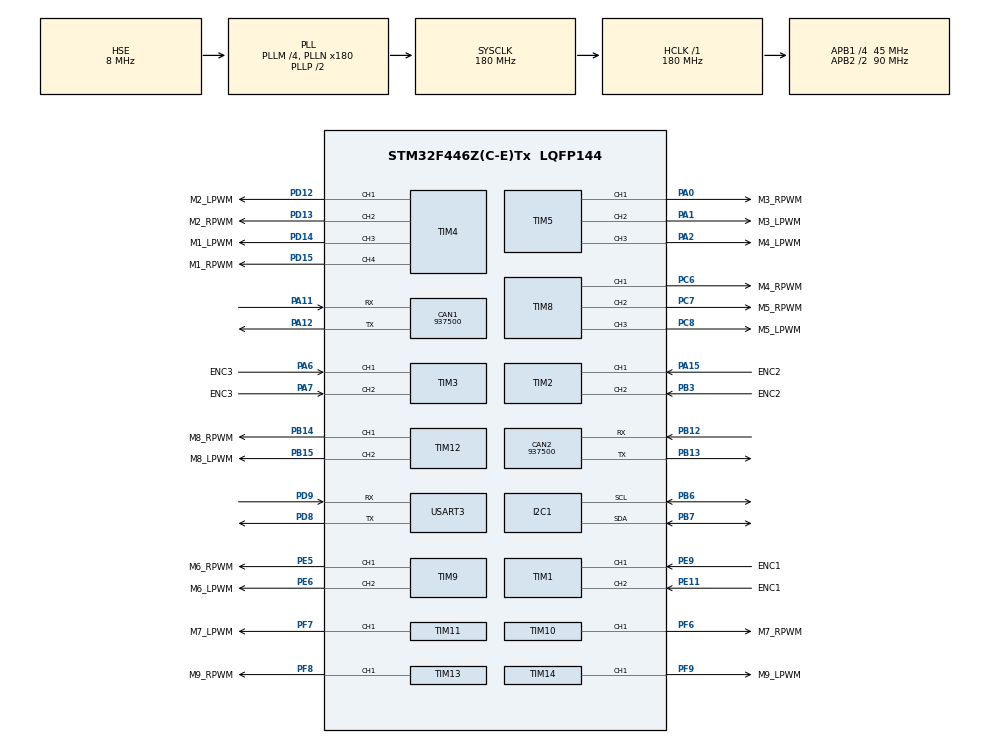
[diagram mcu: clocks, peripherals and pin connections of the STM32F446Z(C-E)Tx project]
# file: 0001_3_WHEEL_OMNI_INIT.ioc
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CAN1.CalculateBaudRate=937500
CAN1.CalculateTimeBit=1066
CAN1.CalculateTimeQuantum=355.55555555555554
CAN2.CalculateBaudRate=937500
CAN2.CalculateTimeBit=1066
CAN2.CalculateTimeQuantum=355.55555555555554
Mcu.Family=STM32F4
Mcu.Name=STM32F446Z(C-E)Tx
Mcu.Package=LQFP144
NVIC.PriorityGroup=NVIC_PRIORITYGROUP_4
PA0-WKUP.GPIO_Label=M3_RPWM
PA0-WKUP.Signal=S_TIM5_CH1
PA1.GPIO_Label=M3_LPWM
PA1.Signal=S_TIM5_CH2
PA11.Mode=CAN_Activate
PA11.Signal=CAN1_RX
PA12.Mode=CAN_Activate
PA12.Signal=CAN1_TX
PA15.GPIO_Label=ENC2
PA15.Signal=S_TIM2_CH1_ETR
PA2.GPIO_Label=M4_LPWM
PA2.Signal=S_TIM5_CH3
PA6.GPIO_Label=ENC3
PA6.Signal=S_TIM3_CH1
PA7.GPIO_Label=ENC3
PA7.Signal=S_TIM3_CH2
PB12.Mode=CAN_Activate
PB12.Signal=CAN2_RX
PB13.Mode=CAN_Activate
PB13.Signal=CAN2_TX
PB14.GPIO_Label=M8_RPWM
PB14.Signal=S_TIM12_CH1
PB15.GPIO_Label=M8_LPWM
PB15.Signal=S_TIM12_CH2
PB3.GPIO_Label=ENC2
PB3.Signal=S_TIM2_CH2
PB6.GPIO_Pu=GPIO_PULLUP
PB6.Mode=I2C
PB6.Signal=I2C1_SCL
PB7.GPIO_Pu=GPIO_PULLUP
PB7.Mode=I2C
PB7.Signal=I2C1_SDA
PC14-OSC32_IN.Mode=LSE-External-Oscillator
PC14-OSC32_IN.Signal=RCC_OSC32_IN
PC15-OSC32_OUT.Mode=LSE-External-Oscillator
PC15-OSC32_OUT.Signal=RCC_OSC32_OUT
PC6.GPIO_Label=M4_RPWM
PC6.Signal=S_TIM8_CH1
PC7.GPIO_Label=M5_RPWM
PC7.Signal=S_TIM8_CH2
PC8.GPIO_Label=M5_LPWM
PC8.Signal=S_TIM8_CH3
PD12.GPIO_Label=M2_LPWM
PD12.Signal=S_TIM4_CH1
PD13.GPIO_Label=M2_RPWM
PD13.Signal=S_TIM4_CH2
PD14.GPIO_Label=M1_LPWM
PD14.Signal=S_TIM4_CH3
PD15.GPIO_Label=M1_RPWM
PD15.Signal=S_TIM4_CH4
PD8.Mode=Asynchronous
PD8.Signal=USART3_TX
PD9.Mode=Asynchronous
PD9.Signal=USART3_RX
PE11.GPIO_Label=ENC1
PE11.Signal=S_TIM1_CH2
PE5.GPIO_Label=M6_RPWM
PE5.Signal=S_TIM9_CH1
PE6.GPIO_Label=M6_LPWM
PE6.Signal=S_TIM9_CH2
PE9.GPIO_Label=ENC1
PE9.Signal=S_TIM1_CH1
PF6.GPIO_Label=M7_RPWM
PF6.Signal=S_TIM10_CH1
PF7.GPIO_Label=M7_LPWM
PF7.Signal=S_TIM11_CH1
PF8.GPIO_Label=M9_RPWM
PF8.Signal=S_TIM13_CH1
PF9.GPIO_Label=M9_LPWM
PF9.Signal=S_TIM14_CH1
PH0-OSC_IN.Mode=HSE-External-Oscillator
PH0-OSC_IN.Signal=RCC_OSC_IN
PH1-OSC_OUT.Mode=HSE-External-Oscillator
PH1-OSC_OUT.Signal=RCC_OSC_OUT
ProjectManager.HeapSize=0x200
ProjectManager.StackSize=0x400
ProjectManager.TargetToolchain=STM32CubeIDE
RCC.48MHZClocksFreq_Value=24000000
RCC.AHBFreq_Value=180000000
RCC.APB1CLKDivider=RCC_HCLK_DIV4
RCC.APB1Freq_Value=45000000
RCC.APB1TimFreq_Value=90000000
RCC.APB2CLKDivider=RCC_HCLK_DIV2
RCC.APB2Freq_Value=90000000
RCC.APB2TimFreq_Value=180000000
RCC.CortexFreq_Value=180000000
RCC.HCLKFreq_Value=180000000
RCC.HSE_VALUE=8000000
RCC.HSI_VALUE=16000000
RCC.PLLM=4
RCC.PLLMUL=RCC_PLL_MUL9
RCC.PLLN=180
RCC.PLLQ=7
RCC.PLLSourceVirtual=RCC_PLLSOURCE_HSE
RCC.PRESCALERUSB=RCC_USBCLKSOURCE_PLL_DIV1_5
RCC.SYSCLKFreq_VALUE=180000000
RCC.SYSCLKSource=RCC_SYSCLKSOURCE_PLLCLK
RCC.SYSCLKSourceVirtual=RCC_SYSCLKSOURCE_PLLCLK
RCC.USBFreq_Value=51428571.428571425
RCC.VCOOutputFreq_Value=360000000
SH.S_TIM10_CH1.0=TIM10_CH1,PWM Generation1 CH1
SH.S_TIM11_CH1.0=TIM11_CH1,PWM Generation1 CH1
SH.S_TIM12_CH1.0=TIM12_CH1,PWM Generation1 CH1
SH.S_TIM12_CH2.0=TIM12_CH2,PWM Generation2 CH2
SH.S_TIM13_CH1.0=TIM13_CH1,PWM Generation1 CH1
SH.S_TIM14_CH1.0=TIM14_CH1,PWM Generation1 CH1
SH.S_TIM1_CH1.0=TIM1_CH1,Encoder_Interface
SH.S_TIM1_CH2.0=TIM1_CH2,Encoder_Interface
SH.S_TIM2_CH1_ETR.0=TIM2_CH1,Encoder_Interface
SH.S_TIM2_CH2.0=TIM2_CH2,Encoder_Interface
SH.S_TIM3_CH1.0=TIM3_CH1,Encoder_Interface
SH.S_TIM3_CH2.0=TIM3_CH2,Encoder_Interface
SH.S_TIM4_CH1.0=TIM4_CH1,PWM Generation1 CH1
SH.S_TIM4_CH2.0=TIM4_CH2,PWM Generation2 CH2
SH.S_TIM4_CH3.0=TIM4_CH3,PWM Generation3 CH3
SH.S_TIM4_CH4.0=TIM4_CH4,PWM Generation4 CH4
SH.S_TIM5_CH1.0=TIM5_CH1,PWM Generation1 CH1
SH.S_TIM5_CH2.0=TIM5_CH2,PWM Generation2 CH2
SH.S_TIM5_CH3.0=TIM5_CH3,PWM Generation3 CH3
SH.S_TIM8_CH1.0=TIM8_CH1,PWM Generation1 CH1
SH.S_TIM8_CH2.0=TIM8_CH2,PWM Generation2 CH2
SH.S_TIM8_CH3.0=TIM8_CH3,PWM Generation3 CH3
SH.S_TIM9_CH1.0=TIM9_CH1,PWM Generation1 CH1
SH.S_TIM9_CH2.0=TIM9_CH2,PWM Generation2 CH2
TIM10.Channel=TIM_CHANNEL_1
TIM11.Channel=TIM_CHANNEL_1
TIM12.Channel-PWM\ Generation1\ CH1=TIM_CHANNEL_1
TIM12.Channel-PWM\ Generation2\ CH2=TIM_CHANNEL_2
TIM13.Channel=TIM_CHANNEL_1
TIM14.Channel=TIM_CHANNEL_1
TIM4.Channel-PWM\ Generation1\ CH1=TIM_CHANNEL_1
TIM4.Channel-PWM\ Generation2\ CH2=TIM_CHANNEL_2
TIM4.Channel-PWM\ Generation3\ CH3=TIM_CHANNEL_3
TIM4.Channel-PWM\ Generation4\ CH4=TIM_CHANNEL_4
TIM5.Channel-PWM\ Generation1\ CH1=TIM_CHANNEL_1
TIM5.Channel-PWM\ Generation2\ CH2=TIM_CHANNEL_2
TIM5.Channel-PWM\ Generation3\ CH3=TIM_CHANNEL_3
TIM8.Channel-PWM\ Generation1\ CH1=TIM_CHANNEL_1
TIM8.Channel-PWM\ Generation2\ CH2=TIM_CHANNEL_2
TIM8.Channel-PWM\ Generation3\ CH3=TIM_CHANNEL_3
TIM9.Channel-PWM\ Generation1\ CH1=TIM_CHANNEL_1
TIM9.Channel-PWM\ Generation2\ CH2=TIM_CHANNEL_2
USART3.VirtualMode=VM_ASYNC
VP_TIM10_VS_ClockSourceINT.Mode=Enable_Timer
VP_TIM11_VS_ClockSourceINT.Mode=Enable_Timer
VP_TIM13_VS_ClockSourceINT.Mode=Enable_Timer
VP_TIM14_VS_ClockSourceINT.Mode=Enable_Timer
VP_TIM8_VS_ClockSourceINT.Mode=Internal
board=NUCLEO-F446ZE

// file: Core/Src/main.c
/* USER CODE BEGIN Header */
/**
  ******************************************************************************
  * @file           : main.c
  * @brief          : Main program body
  ******************************************************************************
  * @attention
  *
  * Copyright (c) 2026 STMicroelectronics.
  * All rights reserved.
  *
  * This software is licensed under terms that can be found in the LICENSE file
  * in the root directory of this software component.
  * If no LICENSE file comes with this software, it is provided AS-IS.
  *
  ******************************************************************************
  */
/* USER CODE END Header */
#include "main.h"

/* USER CODE BEGIN PD */

// ===================== BNO055 CONFIG =====================
#define BNO055_ADDR        (0x28 << 1)
#define BNO055_REG_OPR     0x3D
#define BNO055_REG_PWR     0x3E
#define BNO055_REG_EUL     0x1A

#define BNO055_MODE_CONFIG 0x00
#define BNO055_MODE_NDOF   0x0C
#define BNO055_PWR_NORMAL  0x00

// ===================== IMU_TICK STATE =====================
static uint8_t IMU_TICK_BUFFER[6];
volatile bool IMU_TICK = false;
float IMU_TICK_HEADING = 0.0f;
bool imuInitialized = false;

// ===================== COMMUNICATION AND CONTROL =====================
#define arraySize 5
#define slaveAddr 8
uint8_t data[arraySize];
char dataBuffer[100];
char msg[64];

uint8_t L2;
uint8_t R2;
bool L1;
bool R1;

bool right;
bool down;
bool up;
bool left;
bool square;
bool cross;
bool circle;
bool triangle;

// ===================== MOTOR CONTROL =====================
#define FW_LPWM 1
#define FW_RPWM 2

#define LW_LPWM 1
#define LW_RPWM 2

#define RW_LPWM 3
#define RW_RPWM 4

typedef struct{
    TIM_TypeDef *TIMx;
    uint32_t channelLPWM;
    uint32_t channelRPWM;
    int16_t maxPWM;
} Motor_t;

Motor_t motorFW;
Motor_t motorLW;
Motor_t motorRW;

// ===================== CAN RX =====================
#define CONTROLLER_CAN_ID   0x123
#define CAN_RX_DLC          8

static CAN_FilterTypeDef canFilter;
static CAN_RxHeaderTypeDef  canRxHeader;

static uint8_t canRxData[CAN_RX_DLC];
volatile bool canDataReady = false;
int LX = 0, LY = 0, RX = 0, RY = 0;

// ===================== CONSTANTS =====================
#define wheelRadius       0.075
#define length       	  1
#define MAX_PWM           60
#define DEADZONE     	  35
#define dt           	  0.001

// ===================== KINEMATICS CONSTANTS =====================
#define PI 				  3.14159265358979323846
#define oneBy2F 		  0.5
#define sqrtThreeby2F	  0.8660254037844386

typedef struct{
    // PS4 Input
    float Vx;
    float Vy;
    float Omega;

    // Global Control
    float VxG;
    float VyG;

    // Heading Control
    float currentAngle;
    float targetAngle;
    float correctionAngle;

    // Output
    int16_t wFW;
    int16_t wLW;
    int16_t wRW;

} RobotControl_t;
RobotControl_t Robot;

// ===================== PID CONTROL VARS=====================
typedef struct{
    float kp;
    float ki;
    float kd;

    float previousError;
    float integral;

    uint32_t previousTime;

} PID_t;
PID_t OmegaPID = {
    .kp = 2.5f,
    .ki = 0.0f,
    .kd = 0.5f,
    .previousError = 0.0f,
    .integral = 0.0f,
    .previousTime = 0
};

/* USER CODE END PD */

CAN_HandleTypeDef hcan1;
CAN_HandleTypeDef hcan2;

I2C_HandleTypeDef hi2c1;

TIM_HandleTypeDef htim1;
TIM_HandleTypeDef htim2;
TIM_HandleTypeDef htim3;
TIM_HandleTypeDef htim4;
TIM_HandleTypeDef htim5;
TIM_HandleTypeDef htim8;
TIM_HandleTypeDef htim9;
TIM_HandleTypeDef htim10;
TIM_HandleTypeDef htim11;
TIM_HandleTypeDef htim12;
TIM_HandleTypeDef htim13;
TIM_HandleTypeDef htim14;

UART_HandleTypeDef huart3;

void SystemClock_Config(void);
static void MX_GPIO_Init(void);
static void MX_CAN1_Init(void);
static void MX_CAN2_Init(void);
static void MX_I2C1_Init(void);
static void MX_TIM1_Init(void);
static void MX_TIM2_Init(void);
static void MX_TIM3_Init(void);
static void MX_TIM4_Init(void);
static void MX_TIM5_Init(void);
static void MX_TIM8_Init(void);
static void MX_TIM9_Init(void);
static void MX_TIM10_Init(void);
static void MX_TIM11_Init(void);
static void MX_TIM12_Init(void);
static void MX_TIM13_Init(void);
static void MX_TIM14_Init(void);
static void MX_USART3_UART_Init(void);

/* USER CODE BEGIN 0 */
// ===================== FUNCTIONS DECLARATIONS=====================
float degree2radian(float angle);
float radian2degree(float angle);
float constrain(float num, float min, float max);
long map(long x, long in_min, long in_max, long out_min, long out_max);

void BNO055_Init(void);
static float NormalizeAngle(float angle);
void IMUTicKUpdate(void);
void reMapData();

void MotorSet(Motor_t *motor, int16_t speed);
void MotorInit(Motor_t *motor,	TIM_TypeDef *TIMx, uint32_t channelLeft, uint32_t channelRight,	int16_t maxPWM);
void KinematicsControl(RobotControl_t *robot);
void KinematicsDrive(RobotControl_t *robot);

void RobotUpdateAngle(RobotControl_t *robot);
float PIDCompute(PID_t *pid, float error);
void PIDReset(PID_t *pid);

// ===================== FUNCTIONS DEFINITIONS=====================
float degree2radian(float angle) {
	return angle * (PI / 180.0f);
}

float radian2degree(float angle) {
	return angle * (180.0f / PI);
}

long map(long x, long in_min, long in_max, long out_min, long out_max) {
	return (x - in_min) * (out_max - out_min) / (in_max - in_min) + out_min;
}

float constrain(float num, float min, float max) {

	if (num > max) {
		return max;
	}

	else if (num < min) {
		return min;
	}

	else {
		return num;
	}
}

void BNO055_Init(void){
    uint8_t mode;

    // Go to CONFIG mode
    mode = BNO055_MODE_CONFIG;
    HAL_I2C_Mem_Write(&hi2c1, BNO055_ADDR,	BNO055_REG_OPR, I2C_MEMADD_SIZE_8BIT, &mode, sizeof(mode), HAL_MAX_DELAY);

    HAL_Delay(20);

    // Set power mode
    mode = BNO055_PWR_NORMAL;
    HAL_I2C_Mem_Write(&hi2c1, BNO055_ADDR,	BNO055_REG_PWR, I2C_MEMADD_SIZE_8BIT, &mode, sizeof(mode), HAL_MAX_DELAY);

    HAL_Delay(10);

    // Switch to NDOF mode
    mode = BNO055_MODE_NDOF;
    HAL_I2C_Mem_Write(&hi2c1, BNO055_ADDR,	BNO055_REG_OPR, I2C_MEMADD_SIZE_8BIT, &mode, sizeof(mode), HAL_MAX_DELAY);

    HAL_Delay(20);
}

static float NormalizeAngle(float angle){
    if (angle > 180.0f)  angle -= 360.0f;
    if (angle < -180.0f) angle += 360.0f;
    return angle;
}

void IMUTicKUpdate(void){
	HAL_StatusTypeDef BNO_Status = HAL_I2C_Mem_Read(&hi2c1, BNO055_ADDR, BNO055_REG_EUL, I2C_MEMADD_SIZE_8BIT,	IMU_TICK_BUFFER, sizeof(IMU_TICK_BUFFER), HAL_MAX_DELAY);
    if ( BNO_Status == HAL_OK){
        int16_t raw_heading = (int16_t)((IMU_TICK_BUFFER[1] << 8) | IMU_TICK_BUFFER[0]);
        IMU_TICK_HEADING = -NormalizeAngle(raw_heading / 16.0f);
    }
}

void reMapData(void) {

    LX = map(canRxData[0], 0, 255, 127, -127);
    LY = map(canRxData[1], 0, 255, 127, -127);

    right     = ((canRxData[2] & (1 << 0)) ? 1 : 0);
    down      = ((canRxData[2] & (1 << 1)) ? 1 : 0);
    up        = ((canRxData[2] & (1 << 2)) ? 1 : 0);
    left      = ((canRxData[2] & (1 << 3)) ? 1 : 0);
    square    = ((canRxData[2] & (1 << 4)) ? 1 : 0);
    cross     = ((canRxData[2] & (1 << 5)) ? 1 : 0);
    circle    = ((canRxData[2] & (1 << 6)) ? 1 : 0);
    triangle  = ((canRxData[2] & (1 << 7)) ? 1 : 0);

    L2 = canRxData[3];
    R2 = canRxData[4];

    Robot.Omega = map(R2 - L2, -255, 255, -50, 50);

    if (abs(LX) < DEADZONE) LX = 0;
    if (abs(LY) < DEADZONE) LY = 0;
    if (abs(Robot.Omega) < DEADZONE) Robot.Omega = 0;
}

// ===================== CUSTOM FUNCTIONS =====================

// ===================== MOTOR CONTROL =====================
void MotorInit(Motor_t *motor,	TIM_TypeDef *TIMx, uint32_t channelLeft, uint32_t channelRight,	int16_t maxPWM){
    motor->TIMx = TIMx;
    motor->channelLPWM = channelLeft;
    motor->channelRPWM = channelRight;
    motor->maxPWM = maxPWM;
}

void MotorSet(Motor_t *motor, int16_t speed){
    if (speed > motor->maxPWM)						speed = motor->maxPWM;
    else if (speed < -motor->maxPWM)				speed = -motor->maxPWM;

    volatile uint32_t *ccrLPWM = &motor->TIMx->CCR1 + (motor->channelLPWM - 1);
    volatile uint32_t *ccrRPWM = &motor->TIMx->CCR1 + (motor->channelRPWM - 1);

    if (speed >= 0){
        *ccrRPWM = speed;
        *ccrLPWM = 0;
    } else{
        *ccrRPWM = 0;
        *ccrLPWM = -speed;
    }
}

void KinematicsControl(RobotControl_t *robot){

	double theta = degree2radian(robot->currentAngle);
	robot->VxG = ( robot->Vx) * cosf(theta) + (robot->Vy) * sinf(theta);
	robot->VyG = (-robot->Vx) * sinf(theta) + (robot->Vy) * cosf(theta);

	robot->wLW = (int16_t)((-robot->VxG * oneBy2F) - (robot->VyG * sqrtThreeby2F) + (robot->Omega));				//LEFT
	robot->wRW = (int16_t)((-robot->VxG * oneBy2F) + (robot->VyG * sqrtThreeby2F) + (robot->Omega));				//RIGHT
	robot->wFW = (int16_t)(( robot->VxG ) + (robot->Omega));														//FRONT

	robot->wLW = constrain(robot->wLW, -MAX_PWM, MAX_PWM);
	robot->wRW = constrain(robot->wRW, -MAX_PWM, MAX_PWM);
	robot->wFW = constrain(robot->wFW, -MAX_PWM, MAX_PWM);

}

void KinematicsDrive(RobotControl_t *robot){
	MotorSet(&motorLW, robot->wLW);
	MotorSet(&motorRW, robot->wRW);
    MotorSet(&motorFW, robot->wFW);
}

// ===================== PID CONTROL =====================
void RobotUpdateAngle(RobotControl_t *robot){
    robot->currentAngle = IMU_TICK_HEADING;
}

float PIDCompute(PID_t *pid, float error){
    uint32_t currentTime = HAL_GetTick();
    float deltaT = (currentTime - pid->previousTime) / 1000.0f;

    if (deltaT <= 0.0f)		deltaT = 0.001f;

    pid->integral += error * deltaT;
    pid->integral = constrain(pid->integral, -50.0f, 50.0f);

    float proportional = error;
    float derivative = (error - pid->previousError) / deltaT;
    float integral = pid->integral;

    float PID = (pid->kp * proportional ) + (pid->kd * derivative) + (pid->ki * integral);
    PID = constrain(PID, -MAX_PWM, MAX_PWM);

    pid->previousError  = error;
    pid->previousTime   = currentTime;

    return PID;
}

void PIDReset(PID_t *pid){
    pid->integral = 0.0f;
    pid->previousError = 0.0f;
    pid->previousTime = HAL_GetTick();
}

// =====================  FUNCTIONS =====================

/* USER CODE END 0 */

int main(void)
{

  /* MCU Configuration--------------------------------------------------------*/

  /* Reset of all peripherals, Initializes the Flash interface and the Systick. */
  HAL_Init();

  /* Configure the system clock */
  SystemClock_Config();

  /* Initialize all configured peripherals */
  MX_GPIO_Init();
  MX_CAN1_Init();
  MX_CAN2_Init();
  MX_I2C1_Init();
  MX_TIM1_Init();
  MX_TIM2_Init();
  MX_TIM3_Init();
  MX_TIM4_Init();
  MX_TIM5_Init();
  MX_TIM8_Init();
  MX_TIM9_Init();
  MX_TIM10_Init();
  MX_TIM11_Init();
  MX_TIM12_Init();
  MX_TIM13_Init();
  MX_TIM14_Init();
  MX_USART3_UART_Init();
  /* USER CODE BEGIN 2 */

  HAL_TIM_PWM_Start(&htim4,  TIM_CHANNEL_1);
  HAL_TIM_PWM_Start(&htim4,  TIM_CHANNEL_2);
  HAL_TIM_PWM_Start(&htim4,  TIM_CHANNEL_3);
  HAL_TIM_PWM_Start(&htim4,  TIM_CHANNEL_4);
  HAL_TIM_PWM_Start(&htim5,  TIM_CHANNEL_1);
  HAL_TIM_PWM_Start(&htim5,  TIM_CHANNEL_2);
//  HAL_TIM_PWM_Start(&htim5,  TIM_CHANNEL_3);
//  HAL_TIM_PWM_Start(&htim8,  TIM_CHANNEL_1);
//  HAL_TIM_PWM_Start(&htim8,  TIM_CHANNEL_2);
//  HAL_TIM_PWM_Start(&htim8,  TIM_CHANNEL_3);
//  HAL_TIM_PWM_Start(&htim10, TIM_CHANNEL_1);
//  HAL_TIM_PWM_Start(&htim11, TIM_CHANNEL_1);
//  HAL_TIM_PWM_Start(&htim12, TIM_CHANNEL_1);
//  HAL_TIM_PWM_Start(&htim12, TIM_CHANNEL_2);
//  HAL_TIM_PWM_Start(&htim13, TIM_CHANNEL_1);
//  HAL_TIM_PWM_Start(&htim14, TIM_CHANNEL_1);

  BNO055_Init();

  // ===================== CAN CONFIGURATIONS =====================
  	canFilter.FilterBank = 0;
  	canFilter.FilterMode = CAN_FILTERMODE_IDMASK;
  	canFilter.FilterScale = CAN_FILTERSCALE_32BIT;
  	canFilter.FilterIdHigh = 0x0000;      //0x123 << 5 to accept only id 123
  	canFilter.FilterIdLow = 0x0000;
  	canFilter.FilterMaskIdHigh = 0x0000; // 0x7FF << 5 to accept only id 123
  	canFilter.FilterMaskIdLow = 0x0000;
  	canFilter.FilterFIFOAssignment = CAN_RX_FIFO0;
  	canFilter.FilterActivation = ENABLE;

  	HAL_CAN_ConfigFilter(&hcan1, &canFilter);

  	// THEN start CAN
  	HAL_CAN_Start(&hcan1);

  	// THEN activate interrupt
  	HAL_CAN_ActivateNotification(&hcan1, CAN_IT_RX_FIFO0_MSG_PENDING);

  	// ===================== MOTOR CONFIGURATIONS =====================
  	MotorInit(&motorFW, TIM4, FW_LPWM, FW_RPWM, MAX_PWM);
  	MotorInit(&motorLW, TIM4, LW_LPWM, LW_RPWM, MAX_PWM);
  	MotorInit(&motorRW, TIM5, RW_LPWM, RW_RPWM, MAX_PWM);

  	// ===================== PID CONFIGURATIONS =====================
  	OmegaPID.previousTime = HAL_GetTick();
  	Robot.targetAngle = NormalizeAngle(IMU_TICK_HEADING);

  /* USER CODE END 2 */

  /* Infinite loop */
  		while (1) {

  	    /* USER CODE BEGIN 3 */

  	//      sprintf(msg, "%d    %d   %d    %d    %d\r\n", canRxData[0], canRxData[1], canRxData[2], canRxData[3], canRxData[4]);
  	//      CDC_Transmit_FS(msg, sizeof(msg));

  			if (canDataReady) {
  			    reMapData();
  			    canDataReady = false;
  			}

  			if (IMU_TICK) {
  			    IMUTicKUpdate();
  			    Robot.currentAngle = IMU_TICK_HEADING;

  			    if (!imuInitialized) {
  			        Robot.targetAngle = Robot.currentAngle;
  			        OmegaPID.previousTime = HAL_GetTick();
  			        imuInitialized = true;
  			    }
  			    IMU_TICK = false;
  			}

  			// CONTROL
  			Robot.Vx = LX;
  			Robot.Vy = LY;

  			if (fabsf(Robot.Omega) < 5.0f) {
  			    float error = NormalizeAngle(Robot.currentAngle - Robot.targetAngle);

  			    if (fabsf(error) < 2.0f) {
  			        Robot.Omega = 0;
  			    } else {
  			        Robot.Omega = -PIDCompute(&OmegaPID, error);
  			    }
  			} else {
  			    Robot.targetAngle = Robot.currentAngle;
  			    PIDReset(&OmegaPID);
  			}

  			KinematicsControl(&Robot);
  			KinematicsDrive(&Robot);

  			int len = sprintf(msg, "Angle: %.2f\r\n", Robot.currentAngle);
  			CDC_Transmit_FS((uint8_t*)msg, len);

  			//HAL_Delay(5);
  		}
  	  /* USER CODE END 3 */
  	}

void SystemClock_Config(void)
{
  RCC_OscInitTypeDef RCC_OscInitStruct = {0};
  RCC_ClkInitTypeDef RCC_ClkInitStruct = {0};

  /** Configure the main internal regulator output voltage
  */
  __HAL_RCC_PWR_CLK_ENABLE();
  __HAL_PWR_VOLTAGESCALING_CONFIG(PWR_REGULATOR_VOLTAGE_SCALE1);

  /** Initializes the RCC Oscillators according to the specified parameters
  * in the RCC_OscInitTypeDef structure.
  */
  RCC_OscInitStruct.OscillatorType = RCC_OSCILLATORTYPE_HSE;
  RCC_OscInitStruct.HSEState = RCC_HSE_ON;
  RCC_OscInitStruct.PLL.PLLState = RCC_PLL_ON;
  RCC_OscInitStruct.PLL.PLLSource = RCC_PLLSOURCE_HSE;
  RCC_OscInitStruct.PLL.PLLM = 4;
  RCC_OscInitStruct.PLL.PLLN = 180;
  RCC_OscInitStruct.PLL.PLLP = RCC_PLLP_DIV2;
  RCC_OscInitStruct.PLL.PLLQ = 7;
  RCC_OscInitStruct.PLL.PLLR = 2;
  if (HAL_RCC_OscConfig(&RCC_OscInitStruct) != HAL_OK)
  {
    Error_Handler();
  }

  /** Activate the Over-Drive mode
  */
  if (HAL_PWREx_EnableOverDrive() != HAL_OK)
  {
    Error_Handler();
  }

  /** Initializes the CPU, AHB and APB buses clocks
  */
  RCC_ClkInitStruct.ClockType = RCC_CLOCKTYPE_HCLK|RCC_CLOCKTYPE_SYSCLK
                              |RCC_CLOCKTYPE_PCLK1|RCC_CLOCKTYPE_PCLK2;
  RCC_ClkInitStruct.SYSCLKSource = RCC_SYSCLKSOURCE_PLLCLK;
  RCC_ClkInitStruct.AHBCLKDivider = RCC_SYSCLK_DIV1;
  RCC_ClkInitStruct.APB1CLKDivider = RCC_HCLK_DIV4;
  RCC_ClkInitStruct.APB2CLKDivider = RCC_HCLK_DIV2;

  if (HAL_RCC_ClockConfig(&RCC_ClkInitStruct, FLASH_LATENCY_5) != HAL_OK)
  {
    Error_Handler();
  }
}

static void MX_CAN1_Init(void)
{

  hcan1.Instance = CAN1;
  hcan1.Init.Prescaler = 16;
  hcan1.Init.Mode = CAN_MODE_NORMAL;
  hcan1.Init.SyncJumpWidth = CAN_SJW_1TQ;
  hcan1.Init.TimeSeg1 = CAN_BS1_1TQ;
  hcan1.Init.TimeSeg2 = CAN_BS2_1TQ;
  hcan1.Init.TimeTriggeredMode = DISABLE;
  hcan1.Init.AutoBusOff = DISABLE;
  hcan1.Init.AutoWakeUp = DISABLE;
  hcan1.Init.AutoRetransmission = DISABLE;
  hcan1.Init.ReceiveFifoLocked = DISABLE;
  hcan1.Init.TransmitFifoPriority = DISABLE;
  if (HAL_CAN_Init(&hcan1) != HAL_OK)
  {
    Error_Handler();
  }

}

static void MX_CAN2_Init(void)
{

  hcan2.Instance = CAN2;
  hcan2.Init.Prescaler = 16;
  hcan2.Init.Mode = CAN_MODE_NORMAL;
  hcan2.Init.SyncJumpWidth = CAN_SJW_1TQ;
  hcan2.Init.TimeSeg1 = CAN_BS1_1TQ;
  hcan2.Init.TimeSeg2 = CAN_BS2_1TQ;
  hcan2.Init.TimeTriggeredMode = DISABLE;
  hcan2.Init.AutoBusOff = DISABLE;
  hcan2.Init.AutoWakeUp = DISABLE;
  hcan2.Init.AutoRetransmission = DISABLE;
  hcan2.Init.ReceiveFifoLocked = DISABLE;
  hcan2.Init.TransmitFifoPriority = DISABLE;
  if (HAL_CAN_Init(&hcan2) != HAL_OK)
  {
    Error_Handler();
  }

}

static void MX_I2C1_Init(void)
{

  hi2c1.Instance = I2C1;
  hi2c1.Init.ClockSpeed = 100000;
  hi2c1.Init.DutyCycle = I2C_DUTYCYCLE_2;
  hi2c1.Init.OwnAddress1 = 0;
  hi2c1.Init.AddressingMode = I2C_ADDRESSINGMODE_7BIT;
  hi2c1.Init.DualAddressMode = I2C_DUALADDRESS_DISABLE;
  hi2c1.Init.OwnAddress2 = 0;
  hi2c1.Init.GeneralCallMode = I2C_GENERALCALL_DISABLE;
  hi2c1.Init.NoStretchMode = I2C_NOSTRETCH_DISABLE;
  if (HAL_I2C_Init(&hi2c1) != HAL_OK)
  {
    Error_Handler();
  }

}

static void MX_TIM1_Init(void)
{

  TIM_Encoder_InitTypeDef sConfig = {0};
  TIM_MasterConfigTypeDef sMasterConfig = {0};

  htim1.Instance = TIM1;
  htim1.Init.Prescaler = 0;
  htim1.Init.CounterMode = TIM_COUNTERMODE_UP;
  htim1.Init.Period = 65535;
  htim1.Init.ClockDivision = TIM_CLOCKDIVISION_DIV1;
  htim1.Init.RepetitionCounter = 0;
  htim1.Init.AutoReloadPreload = TIM_AUTORELOAD_PRELOAD_DISABLE;
  sConfig.EncoderMode = TIM_ENCODERMODE_TI1;
  sConfig.IC1Polarity = TIM_ICPOLARITY_RISING;
  sConfig.IC1Selection = TIM_ICSELECTION_DIRECTTI;
  sConfig.IC1Prescaler = TIM_ICPSC_DIV1;
  sConfig.IC1Filter = 0;
  sConfig.IC2Polarity = TIM_ICPOLARITY_RISING;
  sConfig.IC2Selection = TIM_ICSELECTION_DIRECTTI;
  sConfig.IC2Prescaler = TIM_ICPSC_DIV1;
  sConfig.IC2Filter = 0;
  if (HAL_TIM_Encoder_Init(&htim1, &sConfig) != HAL_OK)
  {
    Error_Handler();
  }
  sMasterConfig.MasterOutputTrigger = TIM_TRGO_RESET;
  sMasterConfig.MasterSlaveMode = TIM_MASTERSLAVEMODE_DISABLE;
  if (HAL_TIMEx_MasterConfigSynchronization(&htim1, &sMasterConfig) != HAL_OK)
  {
    Error_Handler();
  }

}

static void MX_TIM2_Init(void)
{

  TIM_Encoder_InitTypeDef sConfig = {0};
  TIM_MasterConfigTypeDef sMasterConfig = {0};

  htim2.Instance = TIM2;
  htim2.Init.Prescaler = 0;
  htim2.Init.CounterMode = TIM_COUNTERMODE_UP;
  htim2.Init.Period = 4294967295;
  htim2.Init.ClockDivision = TIM_CLOCKDIVISION_DIV1;
  htim2.Init.AutoReloadPreload = TIM_AUTORELOAD_PRELOAD_DISABLE;
  sConfig.EncoderMode = TIM_ENCODERMODE_TI1;
  sConfig.IC1Polarity = TIM_ICPOLARITY_RISING;
  sConfig.IC1Selection = TIM_ICSELECTION_DIRECTTI;
  sConfig.IC1Prescaler = TIM_ICPSC_DIV1;
  sConfig.IC1Filter = 0;
  sConfig.IC2Polarity = TIM_ICPOLARITY_RISING;
  sConfig.IC2Selection = TIM_ICSELECTION_DIRECTTI;
  sConfig.IC2Prescaler = TIM_ICPSC_DIV1;
  sConfig.IC2Filter = 0;
  if (HAL_TIM_Encoder_Init(&htim2, &sConfig) != HAL_OK)
  {
    Error_Handler();
  }
  sMasterConfig.MasterOutputTrigger = TIM_TRGO_RESET;
  sMasterConfig.MasterSlaveMode = TIM_MASTERSLAVEMODE_DISABLE;
  if (HAL_TIMEx_MasterConfigSynchronization(&htim2, &sMasterConfig) != HAL_OK)
  {
    Error_Handler();
  }

}

static void MX_TIM3_Init(void)
{

  TIM_Encoder_InitTypeDef sConfig = {0};
  TIM_MasterConfigTypeDef sMasterConfig = {0};

  htim3.Instance = TIM3;
  htim3.Init.Prescaler = 0;
  htim3.Init.CounterMode = TIM_COUNTERMODE_UP;
  htim3.Init.Period = 65535;
  htim3.Init.ClockDivision = TIM_CLOCKDIVISION_DIV1;
  htim3.Init.AutoReloadPreload = TIM_AUTORELOAD_PRELOAD_DISABLE;
  sConfig.EncoderMode = TIM_ENCODERMODE_TI1;
  sConfig.IC1Polarity = TIM_ICPOLARITY_RISING;
  sConfig.IC1Selection = TIM_ICSELECTION_DIRECTTI;
  sConfig.IC1Prescaler = TIM_ICPSC_DIV1;
  sConfig.IC1Filter = 0;
  sConfig.IC2Polarity = TIM_ICPOLARITY_RISING;
  sConfig.IC2Selection = TIM_ICSELECTION_DIRECTTI;
  sConfig.IC2Prescaler = TIM_ICPSC_DIV1;
  sConfig.IC2Filter = 0;
  if (HAL_TIM_Encoder_Init(&htim3, &sConfig) != HAL_OK)
  {
    Error_Handler();
  }
  sMasterConfig.MasterOutputTrigger = TIM_TRGO_RESET;
  sMasterConfig.MasterSlaveMode = TIM_MASTERSLAVEMODE_DISABLE;
  if (HAL_TIMEx_MasterConfigSynchronization(&htim3, &sMasterConfig) != HAL_OK)
  {
    Error_Handler();
  }

}

static void MX_TIM4_Init(void)
{

  TIM_MasterConfigTypeDef sMasterConfig = {0};
  TIM_OC_InitTypeDef sConfigOC = {0};

  htim4.Instance = TIM4;
  htim4.Init.Prescaler = 0;
  htim4.Init.CounterMode = TIM_COUNTERMODE_UP;
  htim4.Init.Period = 65535;
  htim4.Init.ClockDivision = TIM_CLOCKDIVISION_DIV1;
  htim4.Init.AutoReloadPreload = TIM_AUTORELOAD_PRELOAD_DISABLE;
  if (HAL_TIM_PWM_Init(&htim4) != HAL_OK)
  {
    Error_Handler();
  }
  sMasterConfig.MasterOutputTrigger = TIM_TRGO_RESET;
  sMasterConfig.MasterSlaveMode = TIM_MASTERSLAVEMODE_DISABLE;
  if (HAL_TIMEx_MasterConfigSynchronization(&htim4, &sMasterConfig) != HAL_OK)
  {
    Error_Handler();
  }
  sConfigOC.OCMode = TIM_OCMODE_PWM1;
  sConfigOC.Pulse = 0;
  sConfigOC.OCPolarity = TIM_OCPOLARITY_HIGH;
  sConfigOC.OCFastMode = TIM_OCFAST_DISABLE;
  if (HAL_TIM_PWM_ConfigChannel(&htim4, &sConfigOC, TIM_CHANNEL_1) != HAL_OK)
  {
    Error_Handler();
  }
  if (HAL_TIM_PWM_ConfigChannel(&htim4, &sConfigOC, TIM_CHANNEL_2) != HAL_OK)
  {
    Error_Handler();
  }
  if (HAL_TIM_PWM_ConfigChannel(&htim4, &sConfigOC, TIM_CHANNEL_3) != HAL_OK)
  {
    Error_Handler();
  }
  if (HAL_TIM_PWM_ConfigChannel(&htim4, &sConfigOC, TIM_CHANNEL_4) != HAL_OK)
  {
    Error_Handler();
  }
  HAL_TIM_MspPostInit(&htim4);

}

static void MX_TIM5_Init(void)
{

  TIM_MasterConfigTypeDef sMasterConfig = {0};
  TIM_OC_InitTypeDef sConfigOC = {0};

  htim5.Instance = TIM5;
  htim5.Init.Prescaler = 0;
  htim5.Init.CounterMode = TIM_COUNTERMODE_UP;
  htim5.Init.Period = 4294967295;
  htim5.Init.ClockDivision = TIM_CLOCKDIVISION_DIV1;
  htim5.Init.AutoReloadPreload = TIM_AUTORELOAD_PRELOAD_DISABLE;
  if (HAL_TIM_PWM_Init(&htim5) != HAL_OK)
  {
    Error_Handler();
  }
  sMasterConfig.MasterOutputTrigger = TIM_TRGO_RESET;
  sMasterConfig.MasterSlaveMode = TIM_MASTERSLAVEMODE_DISABLE;
  if (HAL_TIMEx_MasterConfigSynchronization(&htim5, &sMasterConfig) != HAL_OK)
  {
    Error_Handler();
  }
  sConfigOC.OCMode = TIM_OCMODE_PWM1;
  sConfigOC.Pulse = 0;
  sConfigOC.OCPolarity = TIM_OCPOLARITY_HIGH;
  sConfigOC.OCFastMode = TIM_OCFAST_DISABLE;
  if (HAL_TIM_PWM_ConfigChannel(&htim5, &sConfigOC, TIM_CHANNEL_1) != HAL_OK)
  {
    Error_Handler();
  }
  if (HAL_TIM_PWM_ConfigChannel(&htim5, &sConfigOC, TIM_CHANNEL_2) != HAL_OK)
  {
    Error_Handler();
  }
  if (HAL_TIM_PWM_ConfigChannel(&htim5, &sConfigOC, TIM_CHANNEL_3) != HAL_OK)
  {
    Error_Handler();
  }
  HAL_TIM_MspPostInit(&htim5);

}

static void MX_TIM8_Init(void)
{

  TIM_ClockConfigTypeDef sClockSourceConfig = {0};
  TIM_MasterConfigTypeDef sMasterConfig = {0};
  TIM_OC_InitTypeDef sConfigOC = {0};
  TIM_BreakDeadTimeConfigTypeDef sBreakDeadTimeConfig = {0};

  htim8.Instance = TIM8;
  htim8.Init.Prescaler = 0;
  htim8.Init.CounterMode = TIM_COUNTERMODE_UP;
  htim8.Init.Period = 65535;
  htim8.Init.ClockDivision = TIM_CLOCKDIVISION_DIV1;
  htim8.Init.RepetitionCounter = 0;
  htim8.Init.AutoReloadPreload = TIM_AUTORELOAD_PRELOAD_DISABLE;
  if (HAL_TIM_Base_Init(&htim8) != HAL_OK)
  {
    Error_Handler();
  }
  sClockSourceConfig.ClockSource = TIM_CLOCKSOURCE_INTERNAL;
  if (HAL_TIM_ConfigClockSource(&htim8, &sClockSourceConfig) != HAL_OK)
  {
    Error_Handler();
  }
  if (HAL_TIM_PWM_Init(&htim8) != HAL_OK)
  {
    Error_Handler();
  }
  sMasterConfig.MasterOutputTrigger = TIM_TRGO_RESET;
  sMasterConfig.MasterSlaveMode = TIM_MASTERSLAVEMODE_DISABLE;
  if (HAL_TIMEx_MasterConfigSynchronization(&htim8, &sMasterConfig) != HAL_OK)
  {
    Error_Handler();
  }
  sConfigOC.OCMode = TIM_OCMODE_PWM1;
  sConfigOC.Pulse = 0;
  sConfigOC.OCPolarity = TIM_OCPOLARITY_HIGH;
  sConfigOC.OCNPolarity = TIM_OCNPOLARITY_HIGH;
  sConfigOC.OCFastMode = TIM_OCFAST_DISABLE;
  sConfigOC.OCIdleState = TIM_OCIDLESTATE_RESET;
  sConfigOC.OCNIdleState = TIM_OCNIDLESTATE_RESET;
  if (HAL_TIM_PWM_ConfigChannel(&htim8, &sConfigOC, TIM_CHANNEL_1) != HAL_OK)
  {
    Error_Handler();
  }
  if (HAL_TIM_PWM_ConfigChannel(&htim8, &sConfigOC, TIM_CHANNEL_2) != HAL_OK)
  {
    Error_Handler();
  }
  if (HAL_TIM_PWM_ConfigChannel(&htim8, &sConfigOC, TIM_CHANNEL_3) != HAL_OK)
  {
    Error_Handler();
  }
  sBreakDeadTimeConfig.OffStateRunMode = TIM_OSSR_DISABLE;
  sBreakDeadTimeConfig.OffStateIDLEMode = TIM_OSSI_DISABLE;
  sBreakDeadTimeConfig.LockLevel = TIM_LOCKLEVEL_OFF;
  sBreakDeadTimeConfig.DeadTime = 0;
  sBreakDeadTimeConfig.BreakState = TIM_BREAK_DISABLE;
  sBreakDeadTimeConfig.BreakPolarity = TIM_BREAKPOLARITY_HIGH;
  sBreakDeadTimeConfig.AutomaticOutput = TIM_AUTOMATICOUTPUT_DISABLE;
  if (HAL_TIMEx_ConfigBreakDeadTime(&htim8, &sBreakDeadTimeConfig) != HAL_OK)
  {
    Error_Handler();
  }
  HAL_TIM_MspPostInit(&htim8);

}

static void MX_TIM9_Init(void)
{

  TIM_OC_InitTypeDef sConfigOC = {0};

  htim9.Instance = TIM9;
  htim9.Init.Prescaler = 0;
  htim9.Init.CounterMode = TIM_COUNTERMODE_UP;
  htim9.Init.Period = 65535;
  htim9.Init.ClockDivision = TIM_CLOCKDIVISION_DIV1;
  htim9.Init.AutoReloadPreload = TIM_AUTORELOAD_PRELOAD_DISABLE;
  if (HAL_TIM_PWM_Init(&htim9) != HAL_OK)
  {
    Error_Handler();
  }
  sConfigOC.OCMode = TIM_OCMODE_PWM1;
  sConfigOC.Pulse = 0;
  sConfigOC.OCPolarity = TIM_OCPOLARITY_HIGH;
  sConfigOC.OCFastMode = TIM_OCFAST_DISABLE;
  if (HAL_TIM_PWM_ConfigChannel(&htim9, &sConfigOC, TIM_CHANNEL_1) != HAL_OK)
  {
    Error_Handler();
  }
  if (HAL_TIM_PWM_ConfigChannel(&htim9, &sConfigOC, TIM_CHANNEL_2) != HAL_OK)
  {
    Error_Handler();
  }
  HAL_TIM_MspPostInit(&htim9);

}

static void MX_TIM10_Init(void)
{

  TIM_OC_InitTypeDef sConfigOC = {0};

  htim10.Instance = TIM10;
  htim10.Init.Prescaler = 0;
  htim10.Init.CounterMode = TIM_COUNTERMODE_UP;
  htim10.Init.Period = 65535;
  htim10.Init.ClockDivision = TIM_CLOCKDIVISION_DIV1;
  htim10.Init.AutoReloadPreload = TIM_AUTORELOAD_PRELOAD_DISABLE;
  if (HAL_TIM_Base_Init(&htim10) != HAL_OK)
  {
    Error_Handler();
  }
  if (HAL_TIM_PWM_Init(&htim10) != HAL_OK)
  {
    Error_Handler();
  }
  sConfigOC.OCMode = TIM_OCMODE_PWM1;
  sConfigOC.Pulse = 0;
  sConfigOC.OCPolarity = TIM_OCPOLARITY_HIGH;
  sConfigOC.OCFastMode = TIM_OCFAST_DISABLE;
  if (HAL_TIM_PWM_ConfigChannel(&htim10, &sConfigOC, TIM_CHANNEL_1) != HAL_OK)
  {
    Error_Handler();
  }
  HAL_TIM_MspPostInit(&htim10);

}

static void MX_TIM11_Init(void)
{

  TIM_OC_InitTypeDef sConfigOC = {0};

  htim11.Instance = TIM11;
  htim11.Init.Prescaler = 0;
  htim11.Init.CounterMode = TIM_COUNTERMODE_UP;
  htim11.Init.Period = 65535;
  htim11.Init.ClockDivision = TIM_CLOCKDIVISION_DIV1;
  htim11.Init.AutoReloadPreload = TIM_AUTORELOAD_PRELOAD_DISABLE;
  if (HAL_TIM_Base_Init(&htim11) != HAL_OK)
  {
    Error_Handler();
  }
  if (HAL_TIM_PWM_Init(&htim11) != HAL_OK)
  {
    Error_Handler();
  }
  sConfigOC.OCMode = TIM_OCMODE_PWM1;
  sConfigOC.Pulse = 0;
  sConfigOC.OCPolarity = TIM_OCPOLARITY_HIGH;
  sConfigOC.OCFastMode = TIM_OCFAST_DISABLE;
  if (HAL_TIM_PWM_ConfigChannel(&htim11, &sConfigOC, TIM_CHANNEL_1) != HAL_OK)
  {
    Error_Handler();
  }
  HAL_TIM_MspPostInit(&htim11);

}

static void MX_TIM12_Init(void)
{

  TIM_OC_InitTypeDef sConfigOC = {0};

  htim12.Instance = TIM12;
  htim12.Init.Prescaler = 0;
  htim12.Init.CounterMode = TIM_COUNTERMODE_UP;
  htim12.Init.Period = 65535;
  htim12.Init.ClockDivision = TIM_CLOCKDIVISION_DIV1;
  htim12.Init.AutoReloadPreload = TIM_AUTORELOAD_PRELOAD_DISABLE;
  if (HAL_TIM_PWM_Init(&htim12) != HAL_OK)
  {
    Error_Handler();
  }
  sConfigOC.OCMode = TIM_OCMODE_PWM1;
  sConfigOC.Pulse = 0;
  sConfigOC.OCPolarity = TIM_OCPOLARITY_HIGH;
  sConfigOC.OCFastMode = TIM_OCFAST_DISABLE;
  if (HAL_TIM_PWM_ConfigChannel(&htim12, &sConfigOC, TIM_CHANNEL_1) != HAL_OK)
  {
    Error_Handler();
  }
  if (HAL_TIM_PWM_ConfigChannel(&htim12, &sConfigOC, TIM_CHANNEL_2) != HAL_OK)
  {
    Error_Handler();
  }
  HAL_TIM_MspPostInit(&htim12);

}

static void MX_TIM13_Init(void)
{

  TIM_OC_InitTypeDef sConfigOC = {0};

  htim13.Instance = TIM13;
  htim13.Init.Prescaler = 0;
  htim13.Init.CounterMode = TIM_COUNTERMODE_UP;
  htim13.Init.Period = 65535;
  htim13.Init.ClockDivision = TIM_CLOCKDIVISION_DIV1;
  htim13.Init.AutoReloadPreload = TIM_AUTORELOAD_PRELOAD_DISABLE;
  if (HAL_TIM_Base_Init(&htim13) != HAL_OK)
  {
    Error_Handler();
  }
  if (HAL_TIM_PWM_Init(&htim13) != HAL_OK)
  {
    Error_Handler();
  }
  sConfigOC.OCMode = TIM_OCMODE_PWM1;
  sConfigOC.Pulse = 0;
  sConfigOC.OCPolarity = TIM_OCPOLARITY_HIGH;
  sConfigOC.OCFastMode = TIM_OCFAST_DISABLE;
  if (HAL_TIM_PWM_ConfigChannel(&htim13, &sConfigOC, TIM_CHANNEL_1) != HAL_OK)
  {
    Error_Handler();
  }
  HAL_TIM_MspPostInit(&htim13);

}

static void MX_TIM14_Init(void)
{

  TIM_OC_InitTypeDef sConfigOC = {0};

  htim14.Instance = TIM14;
  htim14.Init.Prescaler = 0;
  htim14.Init.CounterMode = TIM_COUNTERMODE_UP;
  htim14.Init.Period = 65535;
  htim14.Init.ClockDivision = TIM_CLOCKDIVISION_DIV1;
  htim14.Init.AutoReloadPreload = TIM_AUTORELOAD_PRELOAD_DISABLE;
  if (HAL_TIM_Base_Init(&htim14) != HAL_OK)
  {
    Error_Handler();
  }
  if (HAL_TIM_PWM_Init(&htim14) != HAL_OK)
  {
    Error_Handler();
  }
  sConfigOC.OCMode = TIM_OCMODE_PWM1;
  sConfigOC.Pulse = 0;
  sConfigOC.OCPolarity = TIM_OCPOLARITY_HIGH;
  sConfigOC.OCFastMode = TIM_OCFAST_DISABLE;
  if (HAL_TIM_PWM_ConfigChannel(&htim14, &sConfigOC, TIM_CHANNEL_1) != HAL_OK)
  {
    Error_Handler();
  }
  HAL_TIM_MspPostInit(&htim14);

}

static void MX_USART3_UART_Init(void)
{

  huart3.Instance = USART3;
  huart3.Init.BaudRate = 115200;
  huart3.Init.WordLength = UART_WORDLENGTH_8B;
  huart3.Init.StopBits = UART_STOPBITS_1;
  huart3.Init.Parity = UART_PARITY_NONE;
  huart3.Init.Mode = UART_MODE_TX_RX;
  huart3.Init.HwFlowCtl = UART_HWCONTROL_NONE;
  huart3.Init.OverSampling = UART_OVERSAMPLING_16;
  if (HAL_UART_Init(&huart3) != HAL_OK)
  {
    Error_Handler();
  }

}

static void MX_GPIO_Init(void)
{

  /* GPIO Ports Clock Enable */
  __HAL_RCC_GPIOE_CLK_ENABLE();
  __HAL_RCC_GPIOC_CLK_ENABLE();
  __HAL_RCC_GPIOF_CLK_ENABLE();
  __HAL_RCC_GPIOH_CLK_ENABLE();
  __HAL_RCC_GPIOA_CLK_ENABLE();
  __HAL_RCC_GPIOB_CLK_ENABLE();
  __HAL_RCC_GPIOD_CLK_ENABLE();

}

void Error_Handler(void)
{
  __disable_irq();
  while (1)
  {
  }
}
